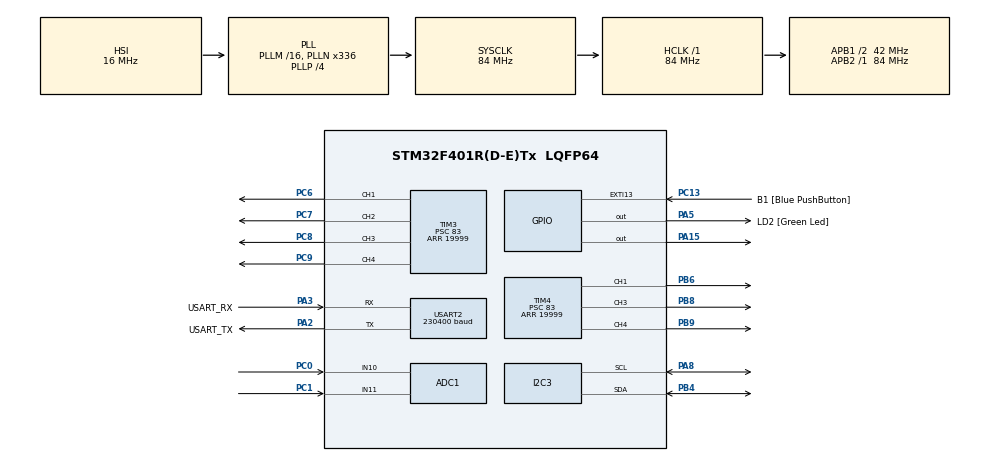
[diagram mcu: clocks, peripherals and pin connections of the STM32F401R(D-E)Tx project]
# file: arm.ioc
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ADC1.Channel-1\#ChannelRegularConversion=ADC_CHANNEL_10
ADC1.NbrOfConversionFlag=1
ADC1.Rank-1\#ChannelRegularConversion=1
ADC1.SamplingTime-1\#ChannelRegularConversion=ADC_SAMPLETIME_3CYCLES
ADC1.master=1
FREERTOS.Tasks01=defaultTask,24,512,StartDefaultTask,Default,NULL,Dynamic,NULL,NULL;highFreq,32,512,StartHighFreq,Default,NULL,Dynamic,NULL,NULL;handleUART,40,512,StartHandleUART,Default,NULL,Dynamic,NULL,NULL
FREERTOS.configMINIMAL_STACK_SIZE=512
Mcu.Family=STM32F4
Mcu.Name=STM32F401R(D-E)Tx
Mcu.Package=LQFP64
NVIC.I2C3_EV_IRQn=true\:5\:0\:false\:false\:true\:true\:true\:true\:true
NVIC.PriorityGroup=NVIC_PRIORITYGROUP_4
NVIC.TIM1_UP_TIM10_IRQn=true\:5\:0\:false\:false\:true\:false\:false\:true\:true
NVIC.TimeBase=TIM1_UP_TIM10_IRQn
NVIC.TimeBaseIP=TIM1
NVIC.USART2_IRQn=true\:5\:0\:false\:false\:true\:true\:true\:true\:true
PA13.GPIO_Label=TMS
PA13.Mode=Serial_Wire
PA13.Signal=SYS_JTMS-SWDIO
PA14.GPIO_Label=TCK
PA14.Mode=Serial_Wire
PA14.Signal=SYS_JTCK-SWCLK
PA15.Signal=GPIO_Output
PA2.GPIO_Label=USART_TX
PA2.GPIO_Mode=GPIO_MODE_AF_PP
PA2.GPIO_PuPd=GPIO_NOPULL
PA2.GPIO_Speed=GPIO_SPEED_FREQ_LOW
PA2.Mode=Asynchronous
PA2.Signal=USART2_TX
PA3.GPIO_Label=USART_RX
PA3.GPIO_Mode=GPIO_MODE_AF_PP
PA3.GPIO_PuPd=GPIO_NOPULL
PA3.GPIO_Speed=GPIO_SPEED_FREQ_LOW
PA3.Mode=Asynchronous
PA3.Signal=USART2_RX
PA5.GPIO_Label=LD2 [Green Led]
PA5.GPIO_Mode=GPIO_MODE_OUTPUT_PP
PA5.GPIO_PuPd=GPIO_NOPULL
PA5.GPIO_Speed=GPIO_SPEED_FREQ_LOW
PA5.Signal=GPIO_Output
PA8.Mode=I2C
PA8.Signal=I2C3_SCL
PB3.GPIO_Label=SWO
PB3.Signal=SYS_JTDO-SWO
PB4.Mode=I2C
PB4.Signal=I2C3_SDA
PB6.Signal=S_TIM4_CH1
PB8.Signal=S_TIM4_CH3
PB9.Signal=S_TIM4_CH4
PC0.Signal=ADCx_IN10
PC1.Signal=ADCx_IN11
PC13-ANTI_TAMP.GPIO_Label=B1 [Blue PushButton]
PC13-ANTI_TAMP.GPIO_ModeDefaultEXTI=GPIO_MODE_IT_FALLING
PC13-ANTI_TAMP.GPIO_PuPd=GPIO_NOPULL
PC13-ANTI_TAMP.Signal=GPXTI13
PC14-OSC32_IN.Mode=LSE-External-Oscillator
PC14-OSC32_IN.Signal=RCC_OSC32_IN
PC15-OSC32_OUT.Mode=LSE-External-Oscillator
PC15-OSC32_OUT.Signal=RCC_OSC32_OUT
PC6.Signal=S_TIM3_CH1
PC7.Signal=S_TIM3_CH2
PC8.Signal=S_TIM3_CH3
PC9.Signal=S_TIM3_CH4
PH0\ -\ OSC_IN.Mode=HSE-External-Clock-Source
PH0\ -\ OSC_IN.Signal=RCC_OSC_IN
PH1\ -\ OSC_OUT.Mode=HSE-External-Clock-Source
PH1\ -\ OSC_OUT.Signal=RCC_OSC_OUT
ProjectManager.HeapSize=0x200
ProjectManager.StackSize=0x400
ProjectManager.TargetToolchain=STM32CubeIDE
RCC.48MHZClocksFreq_Value=48000000
RCC.AHBFreq_Value=84000000
RCC.APB1CLKDivider=RCC_HCLK_DIV2
RCC.APB1Freq_Value=42000000
RCC.APB1TimFreq_Value=84000000
RCC.APB2Freq_Value=84000000
RCC.APB2TimFreq_Value=84000000
RCC.CortexFreq_Value=84000000
RCC.HCLKFreq_Value=84000000
RCC.HSE_VALUE=8000000
RCC.HSI_VALUE=16000000
RCC.PLLN=336
RCC.PLLP=RCC_PLLP_DIV4
RCC.PLLQ=7
RCC.SYSCLKFreq_VALUE=84000000
RCC.SYSCLKSource=RCC_SYSCLKSOURCE_PLLCLK
RCC.VCOOutputFreq_Value=336000000
SH.ADCx_IN10.0=ADC1_IN10,IN10
SH.ADCx_IN11.0=ADC1_IN11,IN11
SH.S_TIM3_CH1.0=TIM3_CH1,PWM Generation1 CH1
SH.S_TIM3_CH2.0=TIM3_CH2,PWM Generation2 CH2
SH.S_TIM3_CH3.0=TIM3_CH3,PWM Generation3 CH3
SH.S_TIM3_CH4.0=TIM3_CH4,PWM Generation4 CH4
SH.S_TIM4_CH1.0=TIM4_CH1,PWM Generation1 CH1
SH.S_TIM4_CH3.0=TIM4_CH3,PWM Generation3 CH3
SH.S_TIM4_CH4.0=TIM4_CH4,PWM Generation4 CH4
TIM2.Period=999999999
TIM2.Prescaler=83
TIM3.Channel-PWM\ Generation1\ CH1=TIM_CHANNEL_1
TIM3.Channel-PWM\ Generation2\ CH2=TIM_CHANNEL_2
TIM3.Channel-PWM\ Generation3\ CH3=TIM_CHANNEL_3
TIM3.Channel-PWM\ Generation4\ CH4=TIM_CHANNEL_4
TIM3.Period=19999
TIM3.Prescaler=83
TIM3.Pulse-PWM\ Generation1\ CH1=1500
TIM3.Pulse-PWM\ Generation2\ CH2=1501
TIM3.Pulse-PWM\ Generation3\ CH3=1502
TIM3.Pulse-PWM\ Generation4\ CH4=1503
TIM4.Channel-Output\ Compare2\ No\ Output=TIM_CHANNEL_2
TIM4.Channel-PWM\ Generation1\ CH1=TIM_CHANNEL_1
TIM4.Channel-PWM\ Generation3\ CH3=TIM_CHANNEL_3
TIM4.Channel-PWM\ Generation4\ CH4=TIM_CHANNEL_4
TIM4.OCMode_2=TIM_OCMODE_TIMING
TIM4.Period=19999
TIM4.Prescaler=83
TIM4.Pulse-PWM\ Generation1\ CH1=1504
TIM4.Pulse-PWM\ Generation3\ CH3=1505
TIM4.Pulse-PWM\ Generation4\ CH4=1506
USART2.BaudRate=230400
USART2.VirtualMode=VM_ASYNC
VP_FREERTOS_VS_CMSIS_V2.Mode=CMSIS_V2
VP_SYS_VS_tim1.Mode=TIM1
VP_TIM2_VS_ClockSourceINT.Mode=Internal
VP_TIM3_VS_ClockSourceINT.Mode=Internal
VP_TIM4_VS_ClockSourceINT.Mode=Internal
VP_TIM4_VS_no_output2.Mode=Output Compare2 No Output
board=NUCLEO-F401RE

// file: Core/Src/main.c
/* USER CODE BEGIN Header */
/**
 ******************************************************************************
 * @file           : main.c
 * @brief          : Main program body
 ******************************************************************************
 * @attention
 *
 * Copyright (c) 2024 STMicroelectronics.
 * All rights reserved.
 *
 * This software is licensed under terms that can be found in the LICENSE file
 * in the root directory of this software component.
 * If no LICENSE file comes with this software, it is provided AS-IS.
 *
 ******************************************************************************
 */
/* USER CODE END Header */
#include "main.h"
#include "cmsis_os.h"

/* USER CODE BEGIN Includes */
#include "stm32f401xe.h" // to fix intellisense
#include "imu.h"
#include "math_utils.h"
#include <math.h>
#include <string.h>
#include <stdio.h>
#include <stdlib.h>

/* USER CODE END Includes */

/* USER CODE BEGIN PD */
#define UART_TX_DELAY 50

#define CMD_LEN 64
#define MSG_LEN 48

// structure (0x00 to 0x3F):
// 0x00 - command
// 0x08 - servo0 angle: double
// 0x10 - servo1 angle: double
// 0x18 - servo2 angle: double
// 0x20 - servo3 angle: double
// 0x28 - servo4 angle: double
// 0x30 - servo5 angle: double
// 0x38 - servo6 angle: double
#define CMD_SET_ANGLE 0x01

// structure (0x00 to 0x3F):
// 0x00 - command
// 0x04 - servo0 pwm: uint32_t
// 0x08 - servo1 pwm: uint32_t
// 0x0C - servo2 pwm: uint32_t
// 0x10 - servo3 pwm: uint32_t
// 0x14 - servo4 pwm: uint32_t
// 0x18 - servo5 pwm: uint32_t
// 0x1C - servo6 pwm: uint32_t
// 0x20 - unused
#define CMD_SET_PWM 0x02

#define PRINT_BUF_SIZE 128
/* USER CODE END PD */

ADC_HandleTypeDef hadc1;

I2C_HandleTypeDef hi2c3;

TIM_HandleTypeDef htim2;
TIM_HandleTypeDef htim3;
TIM_HandleTypeDef htim4;

UART_HandleTypeDef huart2;

/* Definitions for defaultTask */
osThreadId_t defaultTaskHandle;
const osThreadAttr_t defaultTask_attributes = {
    .name = "defaultTask",
    .stack_size = 512 * 4,
    .priority = (osPriority_t)osPriorityNormal,
};
/* Definitions for highFreq */
osThreadId_t highFreqHandle;
const osThreadAttr_t highFreq_attributes = {
    .name = "highFreq",
    .stack_size = 512 * 4,
    .priority = (osPriority_t)osPriorityAboveNormal,
};
/* Definitions for handleUART */
osThreadId_t handleUARTHandle;
const osThreadAttr_t handleUART_attributes = {
    .name = "handleUART",
    .stack_size = 512 * 4,
    .priority = (osPriority_t)osPriorityHigh,
};
/* USER CODE BEGIN PV */
char print_buf[PRINT_BUF_SIZE];
uint32_t print_len;
volatile bool uart_cmd_ready = false;

uint8_t command[CMD_LEN];

double arm_targets[7] = {0, M_PI_2, M_PI_2, 0, 0, 0, 0};
double arm_angles[7] = {0, M_PI_2, M_PI_2, 0, 0, 0, 0};
double arm_speeds[7] = {0, 0, 0, 0, 0, 0, 0};
uint32_t arm_pwms[7] = {0, 0, 0, 0, 0, 0, 0};
// An assumption of how often we will receive move commands from host
const double TX_RATE = 20.0;                // ms
const double max_speed_abs = M_PI_2 / 1000; // rad/ms

bool txReady = true;

bool initializing = false;

Vec3 debug = {0, 0, 0};

/*
if range is pi, shift is pi/2, then -pi/2 maps to 500, pi/2 maps to 2500
nudge is for small adjustments in case the servo is not centered
*/
const double ranges[7] = {3 * M_PI / 2 * 0.98, M_PI * 1.03, 3 * M_PI / 2 * 0.98, 3 * M_PI / 2, M_PI, M_PI, M_PI};
const double shifts[7] = {0, M_PI * 0.03 / 2, 3 * M_PI / 2 * 0.49 - M_PI / 2, 3 * M_PI / 4, M_PI / 2, M_PI / 2, M_PI / 2};
const double nudges[7] = {0, 0, 90, 20, 60, 25, 0};
/* USER CODE END PV */

void SystemClock_Config(void);
static void MX_GPIO_Init(void);
static void MX_USART2_UART_Init(void);
static void MX_TIM3_Init(void);
static void MX_ADC1_Init(void);
static void MX_I2C3_Init(void);
static void MX_TIM4_Init(void);
static void MX_TIM2_Init(void);
void StartDefaultTask(void *argument);
void StartHighFreq(void *argument);
void StartHandleUART(void *argument);

/* USER CODE BEGIN 0 */
void set_angles(double *angles, uint32_t *pwms) {
    for (int i = 0; i < 7; i++)
    {
        pwms[i] = 500 + nudges[i] + (angles[i] + shifts[i]) * 2000.0 / ranges[i];
    }
}

void set_pwms(uint32_t *pwms) {
    // timer 3 PC6-1 PC7-2 PC8-3 PC9-4
    // timer 4 PB6-1 PB8-3 PB9-4
    __HAL_TIM_SET_COMPARE(&htim3, TIM_CHANNEL_1, pwms[0]);
    __HAL_TIM_SET_COMPARE(&htim3, TIM_CHANNEL_2, pwms[1]);
    __HAL_TIM_SET_COMPARE(&htim3, TIM_CHANNEL_3, pwms[2]);
    __HAL_TIM_SET_COMPARE(&htim3, TIM_CHANNEL_4, pwms[3]);
    __HAL_TIM_SET_COMPARE(&htim4, TIM_CHANNEL_1, pwms[4]);
    __HAL_TIM_SET_COMPARE(&htim4, TIM_CHANNEL_3, pwms[5]);
    __HAL_TIM_SET_COMPARE(&htim4, TIM_CHANNEL_4, pwms[6]);
}

void HAL_UART_RxCpltCallback(UART_HandleTypeDef *huart) {
    if (huart->Instance == USART2) {
        uart_cmd_ready = true;
        HAL_UART_Receive_IT(&huart2, command, CMD_LEN);
    }
}

void HAL_UART_TxCpltCallback(UART_HandleTypeDef *huart)
{
    if (huart->Instance == USART2) {
	    txReady = true;
    }
}

int UART_Send(uint8_t *data, uint16_t size) {
    if (txReady)
    {
        txReady = false;
        return HAL_UART_Transmit_IT(&huart2, data, size);
    }
    return -1;
}
/* USER CODE END 0 */

int main(void) {

    /* MCU Configuration--------------------------------------------------------*/

    /* Reset of all peripherals, Initializes the Flash interface and the Systick. */
    HAL_Init();

    /* Configure the system clock */
    SystemClock_Config();

    /* Initialize all configured peripherals */
    MX_GPIO_Init();
    MX_USART2_UART_Init();
    MX_TIM3_Init();
    MX_ADC1_Init();
    MX_I2C3_Init();
    MX_TIM4_Init();
    MX_TIM2_Init();
    /* USER CODE BEGIN 2 */
    HAL_TIM_PWM_Start(&htim3, TIM_CHANNEL_1);
    HAL_TIM_PWM_Start(&htim3, TIM_CHANNEL_2);
    HAL_TIM_PWM_Start(&htim3, TIM_CHANNEL_3);
    HAL_TIM_PWM_Start(&htim3, TIM_CHANNEL_4);
    HAL_TIM_PWM_Start(&htim4, TIM_CHANNEL_1);
    HAL_TIM_PWM_Start(&htim4, TIM_CHANNEL_3);
    HAL_TIM_PWM_Start(&htim4, TIM_CHANNEL_4);

    __HAL_RCC_TIM2_CLK_ENABLE();
    TIM2->CR1 = TIM_CR1_CEN;

    /* USER CODE END 2 */

    /* Init scheduler */
    osKernelInitialize();

    /* Create the thread(s) */
    /* creation of defaultTask */
    defaultTaskHandle = osThreadNew(StartDefaultTask, NULL, &defaultTask_attributes);

    /* creation of highFreq */
    highFreqHandle = osThreadNew(StartHighFreq, NULL, &highFreq_attributes);

    /* creation of handleUART */
    handleUARTHandle = osThreadNew(StartHandleUART, NULL, &handleUART_attributes);

    /* Start scheduler */
    osKernelStart();

    /* We should never get here as control is now taken by the scheduler */

    /* Infinite loop */
    while (1) {

    }
}

void SystemClock_Config(void) {
    RCC_OscInitTypeDef RCC_OscInitStruct = {0};
    RCC_ClkInitTypeDef RCC_ClkInitStruct = {0};

    /** Configure the main internal regulator output voltage
     */
    __HAL_RCC_PWR_CLK_ENABLE();
    __HAL_PWR_VOLTAGESCALING_CONFIG(PWR_REGULATOR_VOLTAGE_SCALE2);

    /** Initializes the RCC Oscillators according to the specified parameters
     * in the RCC_OscInitTypeDef structure.
     */
    RCC_OscInitStruct.OscillatorType = RCC_OSCILLATORTYPE_HSI;
    RCC_OscInitStruct.HSIState = RCC_HSI_ON;
    RCC_OscInitStruct.HSICalibrationValue = RCC_HSICALIBRATION_DEFAULT;
    RCC_OscInitStruct.PLL.PLLState = RCC_PLL_ON;
    RCC_OscInitStruct.PLL.PLLSource = RCC_PLLSOURCE_HSI;
    RCC_OscInitStruct.PLL.PLLM = 16;
    RCC_OscInitStruct.PLL.PLLN = 336;
    RCC_OscInitStruct.PLL.PLLP = RCC_PLLP_DIV4;
    RCC_OscInitStruct.PLL.PLLQ = 7;
    if (HAL_RCC_OscConfig(&RCC_OscInitStruct) != HAL_OK) {
        Error_Handler();
    }

    /** Initializes the CPU, AHB and APB buses clocks
     */
    RCC_ClkInitStruct.ClockType = RCC_CLOCKTYPE_HCLK | RCC_CLOCKTYPE_SYSCLK | RCC_CLOCKTYPE_PCLK1 | RCC_CLOCKTYPE_PCLK2;
    RCC_ClkInitStruct.SYSCLKSource = RCC_SYSCLKSOURCE_PLLCLK;
    RCC_ClkInitStruct.AHBCLKDivider = RCC_SYSCLK_DIV1;
    RCC_ClkInitStruct.APB1CLKDivider = RCC_HCLK_DIV2;
    RCC_ClkInitStruct.APB2CLKDivider = RCC_HCLK_DIV1;

    if (HAL_RCC_ClockConfig(&RCC_ClkInitStruct, FLASH_LATENCY_2) != HAL_OK) {
        Error_Handler();
    }
}

static void MX_ADC1_Init(void) {

    ADC_ChannelConfTypeDef sConfig = {0};

    /** Configure the global features of the ADC (Clock, Resolution, Data Alignment and number of conversion)
     */
    hadc1.Instance = ADC1;
    hadc1.Init.ClockPrescaler = ADC_CLOCK_SYNC_PCLK_DIV4;
    hadc1.Init.Resolution = ADC_RESOLUTION_12B;
    hadc1.Init.ScanConvMode = DISABLE;
    hadc1.Init.ContinuousConvMode = DISABLE;
    hadc1.Init.DiscontinuousConvMode = DISABLE;
    hadc1.Init.ExternalTrigConvEdge = ADC_EXTERNALTRIGCONVEDGE_NONE;
    hadc1.Init.ExternalTrigConv = ADC_SOFTWARE_START;
    hadc1.Init.DataAlign = ADC_DATAALIGN_RIGHT;
    hadc1.Init.NbrOfConversion = 1;
    hadc1.Init.DMAContinuousRequests = DISABLE;
    hadc1.Init.EOCSelection = ADC_EOC_SINGLE_CONV;
    if (HAL_ADC_Init(&hadc1) != HAL_OK) {
        Error_Handler();
    }

    /** Configure for the selected ADC regular channel its corresponding rank in the sequencer and its sample time.
     */
    sConfig.Channel = ADC_CHANNEL_10;
    sConfig.Rank = 1;
    sConfig.SamplingTime = ADC_SAMPLETIME_3CYCLES;
    if (HAL_ADC_ConfigChannel(&hadc1, &sConfig) != HAL_OK) {
        Error_Handler();
    }
}

static void MX_I2C3_Init(void) {

    hi2c3.Instance = I2C3;
    hi2c3.Init.ClockSpeed = 400000;
    hi2c3.Init.DutyCycle = I2C_DUTYCYCLE_2;
    hi2c3.Init.OwnAddress1 = 0;
    hi2c3.Init.AddressingMode = I2C_ADDRESSINGMODE_7BIT;
    hi2c3.Init.DualAddressMode = I2C_DUALADDRESS_DISABLE;
    hi2c3.Init.OwnAddress2 = 0;
    hi2c3.Init.GeneralCallMode = I2C_GENERALCALL_DISABLE;
    hi2c3.Init.NoStretchMode = I2C_NOSTRETCH_DISABLE;
    if (HAL_I2C_Init(&hi2c3) != HAL_OK) {
        Error_Handler();
    }
}

static void MX_TIM2_Init(void) {

    TIM_ClockConfigTypeDef sClockSourceConfig = {0};
    TIM_MasterConfigTypeDef sMasterConfig = {0};

    htim2.Instance = TIM2;
    htim2.Init.Prescaler = 83;
    htim2.Init.CounterMode = TIM_COUNTERMODE_UP;
    htim2.Init.Period = 999999999;
    htim2.Init.ClockDivision = TIM_CLOCKDIVISION_DIV1;
    htim2.Init.AutoReloadPreload = TIM_AUTORELOAD_PRELOAD_DISABLE;
    if (HAL_TIM_Base_Init(&htim2) != HAL_OK) {
        Error_Handler();
    }
    sClockSourceConfig.ClockSource = TIM_CLOCKSOURCE_INTERNAL;
    if (HAL_TIM_ConfigClockSource(&htim2, &sClockSourceConfig) != HAL_OK) {
        Error_Handler();
    }
    sMasterConfig.MasterOutputTrigger = TIM_TRGO_RESET;
    sMasterConfig.MasterSlaveMode = TIM_MASTERSLAVEMODE_DISABLE;
    if (HAL_TIMEx_MasterConfigSynchronization(&htim2, &sMasterConfig) != HAL_OK) {
        Error_Handler();
    }
}

static void MX_TIM3_Init(void) {

    TIM_ClockConfigTypeDef sClockSourceConfig = {0};
    TIM_MasterConfigTypeDef sMasterConfig = {0};
    TIM_OC_InitTypeDef sConfigOC = {0};

    htim3.Instance = TIM3;
    htim3.Init.Prescaler = 83;
    htim3.Init.CounterMode = TIM_COUNTERMODE_UP;
    htim3.Init.Period = 19999;
    htim3.Init.ClockDivision = TIM_CLOCKDIVISION_DIV1;
    htim3.Init.AutoReloadPreload = TIM_AUTORELOAD_PRELOAD_DISABLE;
    if (HAL_TIM_Base_Init(&htim3) != HAL_OK) {
        Error_Handler();
    }
    sClockSourceConfig.ClockSource = TIM_CLOCKSOURCE_INTERNAL;
    if (HAL_TIM_ConfigClockSource(&htim3, &sClockSourceConfig) != HAL_OK) {
        Error_Handler();
    }
    if (HAL_TIM_PWM_Init(&htim3) != HAL_OK) {
        Error_Handler();
    }
    sMasterConfig.MasterOutputTrigger = TIM_TRGO_RESET;
    sMasterConfig.MasterSlaveMode = TIM_MASTERSLAVEMODE_DISABLE;
    if (HAL_TIMEx_MasterConfigSynchronization(&htim3, &sMasterConfig) != HAL_OK) {
        Error_Handler();
    }
    sConfigOC.OCMode = TIM_OCMODE_PWM1;
    sConfigOC.Pulse = 500 + nudges[0] + (arm_angles[0] + shifts[0]) * 2000.0 / ranges[0];
    sConfigOC.OCPolarity = TIM_OCPOLARITY_HIGH;
    sConfigOC.OCFastMode = TIM_OCFAST_DISABLE;
    if (HAL_TIM_PWM_ConfigChannel(&htim3, &sConfigOC, TIM_CHANNEL_1) != HAL_OK) {
        Error_Handler();
    }
    sConfigOC.Pulse = 500 + nudges[1] + (arm_angles[1] + shifts[1]) * 2000.0 / ranges[1];
    if (HAL_TIM_PWM_ConfigChannel(&htim3, &sConfigOC, TIM_CHANNEL_2) != HAL_OK) {
        Error_Handler();
    }
    sConfigOC.Pulse = 500 + nudges[2] + (arm_angles[2] + shifts[2]) * 2000.0 / ranges[2];
    if (HAL_TIM_PWM_ConfigChannel(&htim3, &sConfigOC, TIM_CHANNEL_3) != HAL_OK) {
        Error_Handler();
    }
    sConfigOC.Pulse = 500 + nudges[3] + (arm_angles[3] + shifts[3]) * 2000.0 / ranges[3];
    if (HAL_TIM_PWM_ConfigChannel(&htim3, &sConfigOC, TIM_CHANNEL_4) != HAL_OK) {
        Error_Handler();
    }
    HAL_TIM_MspPostInit(&htim3);
}

static void MX_TIM4_Init(void) {

    TIM_ClockConfigTypeDef sClockSourceConfig = {0};
    TIM_MasterConfigTypeDef sMasterConfig = {0};
    TIM_OC_InitTypeDef sConfigOC = {0};

    htim4.Instance = TIM4;
    htim4.Init.Prescaler = 83;
    htim4.Init.CounterMode = TIM_COUNTERMODE_UP;
    htim4.Init.Period = 19999;
    htim4.Init.ClockDivision = TIM_CLOCKDIVISION_DIV1;
    htim4.Init.AutoReloadPreload = TIM_AUTORELOAD_PRELOAD_DISABLE;
    if (HAL_TIM_Base_Init(&htim4) != HAL_OK) {
        Error_Handler();
    }
    sClockSourceConfig.ClockSource = TIM_CLOCKSOURCE_INTERNAL;
    if (HAL_TIM_ConfigClockSource(&htim4, &sClockSourceConfig) != HAL_OK) {
        Error_Handler();
    }
    if (HAL_TIM_PWM_Init(&htim4) != HAL_OK) {
        Error_Handler();
    }
    if (HAL_TIM_OC_Init(&htim4) != HAL_OK) {
        Error_Handler();
    }
    sMasterConfig.MasterOutputTrigger = TIM_TRGO_RESET;
    sMasterConfig.MasterSlaveMode = TIM_MASTERSLAVEMODE_DISABLE;
    if (HAL_TIMEx_MasterConfigSynchronization(&htim4, &sMasterConfig) != HAL_OK) {
        Error_Handler();
    }
    sConfigOC.OCMode = TIM_OCMODE_PWM1;
    sConfigOC.Pulse = 500 + nudges[4] + (arm_angles[4] + shifts[4]) * 2000.0 / ranges[4];
    sConfigOC.OCPolarity = TIM_OCPOLARITY_HIGH;
    sConfigOC.OCFastMode = TIM_OCFAST_DISABLE;
    if (HAL_TIM_PWM_ConfigChannel(&htim4, &sConfigOC, TIM_CHANNEL_1) != HAL_OK) {
        Error_Handler();
    }
    sConfigOC.Pulse = 500 + nudges[5] + (arm_angles[5] + shifts[5]) * 2000.0 / ranges[5];
    if (HAL_TIM_PWM_ConfigChannel(&htim4, &sConfigOC, TIM_CHANNEL_3) != HAL_OK)
    {
        Error_Handler();
    }
    sConfigOC.Pulse = 500 + nudges[6] + (arm_angles[6] + shifts[6]) * 2000.0 / ranges[6];
    if (HAL_TIM_PWM_ConfigChannel(&htim4, &sConfigOC, TIM_CHANNEL_4) != HAL_OK)
    {
        Error_Handler();
    }
    HAL_TIM_MspPostInit(&htim4);
}

static void MX_USART2_UART_Init(void) {

    huart2.Instance = USART2;
    huart2.Init.BaudRate = 230400;
    huart2.Init.WordLength = UART_WORDLENGTH_8B;
    huart2.Init.StopBits = UART_STOPBITS_1;
    huart2.Init.Parity = UART_PARITY_NONE;
    huart2.Init.Mode = UART_MODE_TX_RX;
    huart2.Init.HwFlowCtl = UART_HWCONTROL_NONE;
    huart2.Init.OverSampling = UART_OVERSAMPLING_16;
    if (HAL_UART_Init(&huart2) != HAL_OK) {
        Error_Handler();
    }
}

static void MX_GPIO_Init(void) {
    GPIO_InitTypeDef GPIO_InitStruct = {0};

    /* GPIO Ports Clock Enable */
    __HAL_RCC_GPIOC_CLK_ENABLE();
    __HAL_RCC_GPIOH_CLK_ENABLE();
    __HAL_RCC_GPIOA_CLK_ENABLE();
    __HAL_RCC_GPIOB_CLK_ENABLE();

    /*Configure GPIO pin Output Level */
    HAL_GPIO_WritePin(GPIOA, LD2_Pin|GPIO_PIN_15, GPIO_PIN_RESET);

    /*Configure GPIO pin : B1_Pin */
    GPIO_InitStruct.Pin = B1_Pin;
    GPIO_InitStruct.Mode = GPIO_MODE_IT_FALLING;
    GPIO_InitStruct.Pull = GPIO_NOPULL;
    HAL_GPIO_Init(B1_GPIO_Port, &GPIO_InitStruct);

    /*Configure GPIO pins : LD2_Pin PA15 */
    GPIO_InitStruct.Pin = LD2_Pin|GPIO_PIN_15;
    GPIO_InitStruct.Mode = GPIO_MODE_OUTPUT_PP;
    GPIO_InitStruct.Pull = GPIO_NOPULL;
    GPIO_InitStruct.Speed = GPIO_SPEED_FREQ_LOW;
    HAL_GPIO_Init(GPIOA, &GPIO_InitStruct);

}

/* USER CODE BEGIN 4 */
void SoftReset() {
    initializing = true;

    double target_values[7] = {0, M_PI_2, M_PI_2, 0, 0, 0, 0};
    double angle_values[7] = {0, M_PI_2, M_PI_2, 0, 0, 0, 0};
    double speed_values[7] = {0, 0, 0, 0, 0, 0, 0};
    uint32_t pwm_values[7] = {0, 0, 0, 0, 0, 0, 0};

    set_angles(arm_angles, arm_pwms);
    set_pwms(arm_pwms);

    for (int i = 0; i < 7; i++) {
        arm_targets[i] = target_values[i];
        arm_angles[i] = angle_values[i];
        arm_speeds[i] = speed_values[i];
        arm_pwms[i] = pwm_values[i];
    }

    // uint8_t start_signal[MSG_LEN] = {0};
    // UART_Send(start_signal, MSG_LEN);
    print_len = snprintf(print_buf, PRINT_BUF_SIZE, "WE STARTING!\n");
    UART_Send((uint8_t *)print_buf, print_len);

    HAL_UART_Receive_IT(&huart2, command, CMD_LEN);
    initializing = false;
}
/* USER CODE END 4 */

void StartDefaultTask(void *argument) {
    /* USER CODE BEGIN 5 */
    SoftReset();
    int32_t prev_us = TIM2->CNT; // microseconds
    bool prev_button = false;

    /* Infinite loop */
    for (;;) {
        // ulTaskNotifyTake(pdTRUE, portMAX_DELAY);

        bool button_pressed = HAL_GPIO_ReadPin(B1_GPIO_Port, B1_Pin) == GPIO_PIN_SET;
        if (button_pressed && !prev_button) {
            SoftReset();
            prev_us = TIM2->CNT; // ignore time spent in calibration; assumed that calibration is done when stationary
        }
        prev_button = button_pressed;

        int32_t timer_reading = TIM2->CNT;
        int32_t elapsed_us = timer_reading - prev_us;
        prev_us = timer_reading;
        // handle timer value wraparound (once per 1000 seconds)
        if (elapsed_us < 0) {
            elapsed_us += 1000000000;
        }
        double elapsed_ms = elapsed_us / 1000.0;

        if (uart_cmd_ready) {
            uart_cmd_ready = false;

            switch (command[0]) {
            case CMD_SET_ANGLE:
                for (uint8_t i = 0; i < 7; i++) {
                    uint8_t offset = 8 + i * 8;
                    double angle = *((double *)&command[offset]);
                    arm_targets[i] = angle;
                    arm_speeds[i] = (arm_targets[i] - arm_angles[i]) / TX_RATE;

                    // limit arm speed (especially for arm up/down switching movements)
                    arm_speeds[i] = (arm_speeds[i] > max_speed_abs) ? max_speed_abs : arm_speeds[i];
                    arm_speeds[i] = (arm_speeds[i] < -max_speed_abs) ? -max_speed_abs : arm_speeds[i];
                }
                break;
            case CMD_SET_PWM:
                for (uint8_t i = 0; i < 7; i++) {
                    uint8_t offset = 4 + i * 4;
                    arm_pwms[i] = *((uint32_t *)&command[offset]);
                }
            default:
                break;
            }
        }

        // SERVO SETTING
        for (uint8_t i = 0; i < 7; i++) {
            prev_us = TIM2->CNT;
            arm_angles[i] += arm_speeds[i] * elapsed_ms;
            if (arm_speeds[i] > 0.0 && arm_angles[i] > arm_targets[i]) {
                arm_angles[i] = arm_targets[i];
                arm_speeds[i] = 0.0;
            }
            else if (arm_speeds[i] < 0.0 && arm_angles[i] < arm_targets[i]) {
                arm_angles[i] = arm_targets[i];
                arm_speeds[i] = 0.0;
            }
        }
        set_angles(arm_angles, arm_pwms);
        set_pwms(arm_pwms);
        osDelay(1);
    }
    /* USER CODE END 5 */
}

void StartHighFreq(void *argument) {
    /* USER CODE BEGIN StartHighFreq */
    /* Infinite loop */
    for (;;)
    {
        // if (!initializing) {
        //     uint8_t send[MSG_LEN] = {0};
        //     send[0] = 0xFF;
        //     QuatF q = quatf_from_mat3(imu_dir);
        //     float data[MSG_LEN / 4 - 1] = {imu_pos.x, imu_pos.y, imu_pos.z, q.x, q.y, q.z, q.w, debug.x, debug.y, debug.z, 0};
        //     // float data[MSG_LEN - 1] = {imu_dir.col1.x, imu_dir.col1.y, imu_dir.col1.z, imu_dir.col2.x, imu_dir.col2.y, imu_dir.col2.z, imu_dir.col3.x, imu_dir.col3.y, imu_dir.col3.z, debug.x, debug.y};
        //     memcpy(&send[2], &data, MSG_LEN - 4);
        //     // memcpy(&send[2], &debug_timing, 4); // TEMP DEBUG TO SEE LOOP TIMINGS
        //     send[MSG_LEN - 1] = 0xFF;
        //     send[MSG_LEN - 2] = 0xFF;
        //     UART_Send(send, MSG_LEN);
        // }
        osDelay(50);
    }
    /* USER CODE END StartHighFreq */
}

void StartHandleUART(void *argument) {
    /* USER CODE BEGIN StartHandleUART */
    HAL_UART_Receive_IT(&huart2, command, CMD_LEN);

    /* Infinite loop */
    // the timing of this loop is determined by the host. We assume it's 20ms (is that scuffed? idk)
    for (;;) {
        osDelay(50);
    }
    /* USER CODE END StartHandleUART */
}

void HAL_TIM_PeriodElapsedCallback(TIM_HandleTypeDef *htim) {
    if (htim->Instance == TIM1) {
        HAL_IncTick();
    }
}

void Error_Handler(void) {
    __disable_irq();
    while (1)
    {
    }
}
